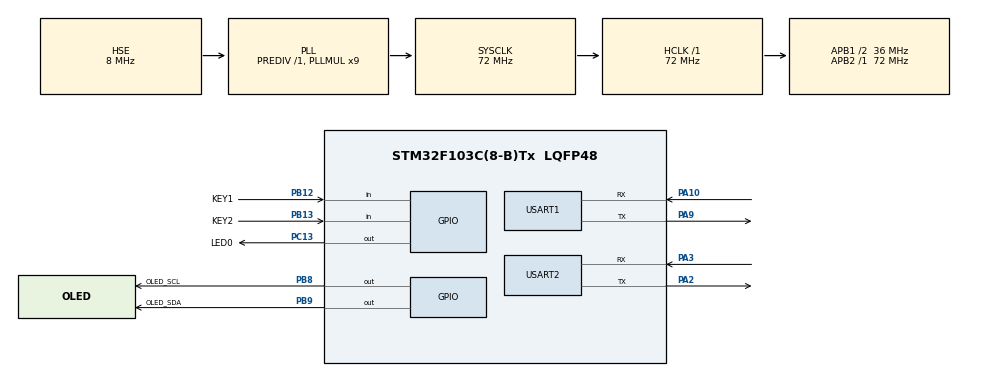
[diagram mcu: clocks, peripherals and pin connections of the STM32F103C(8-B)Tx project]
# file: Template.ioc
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Dma.Request0=USART1_RX
Dma.Request1=USART1_TX
Dma.Request2=USART2_RX
Dma.Request3=USART2_TX
Dma.USART1_RX.0.Direction=DMA_PERIPH_TO_MEMORY
Dma.USART1_RX.0.Instance=DMA1_Channel5
Dma.USART1_RX.0.MemDataAlignment=DMA_MDATAALIGN_BYTE
Dma.USART1_RX.0.MemInc=DMA_MINC_ENABLE
Dma.USART1_RX.0.Mode=DMA_NORMAL
Dma.USART1_RX.0.PeriphDataAlignment=DMA_PDATAALIGN_BYTE
Dma.USART1_RX.0.PeriphInc=DMA_PINC_DISABLE
Dma.USART1_RX.0.Priority=DMA_PRIORITY_LOW
Dma.USART1_TX.1.Direction=DMA_MEMORY_TO_PERIPH
Dma.USART1_TX.1.Instance=DMA1_Channel4
Dma.USART1_TX.1.MemDataAlignment=DMA_MDATAALIGN_BYTE
Dma.USART1_TX.1.MemInc=DMA_MINC_ENABLE
Dma.USART1_TX.1.Mode=DMA_NORMAL
Dma.USART1_TX.1.PeriphDataAlignment=DMA_PDATAALIGN_BYTE
Dma.USART1_TX.1.PeriphInc=DMA_PINC_DISABLE
Dma.USART1_TX.1.Priority=DMA_PRIORITY_LOW
Dma.USART2_RX.2.Direction=DMA_PERIPH_TO_MEMORY
Dma.USART2_RX.2.Instance=DMA1_Channel6
Dma.USART2_RX.2.MemDataAlignment=DMA_MDATAALIGN_BYTE
Dma.USART2_RX.2.MemInc=DMA_MINC_ENABLE
Dma.USART2_RX.2.Mode=DMA_NORMAL
Dma.USART2_RX.2.PeriphDataAlignment=DMA_PDATAALIGN_BYTE
Dma.USART2_RX.2.PeriphInc=DMA_PINC_DISABLE
Dma.USART2_RX.2.Priority=DMA_PRIORITY_LOW
Dma.USART2_TX.3.Direction=DMA_MEMORY_TO_PERIPH
Dma.USART2_TX.3.Instance=DMA1_Channel7
Dma.USART2_TX.3.MemDataAlignment=DMA_MDATAALIGN_BYTE
Dma.USART2_TX.3.MemInc=DMA_MINC_ENABLE
Dma.USART2_TX.3.Mode=DMA_NORMAL
Dma.USART2_TX.3.PeriphDataAlignment=DMA_PDATAALIGN_BYTE
Dma.USART2_TX.3.PeriphInc=DMA_PINC_DISABLE
Dma.USART2_TX.3.Priority=DMA_PRIORITY_LOW
Mcu.Family=STM32F1
Mcu.Name=STM32F103C(8-B)Tx
Mcu.Package=LQFP48
NVIC.DMA1_Channel4_IRQn=true\:0\:0\:false\:false\:true\:false\:true\:true
NVIC.DMA1_Channel5_IRQn=true\:0\:0\:false\:false\:true\:false\:true\:true
NVIC.DMA1_Channel6_IRQn=true\:0\:0\:false\:false\:true\:false\:true\:true
NVIC.DMA1_Channel7_IRQn=true\:0\:0\:false\:false\:true\:false\:true\:true
NVIC.PriorityGroup=NVIC_PRIORITYGROUP_2
NVIC.USART1_IRQn=true\:0\:0\:false\:false\:true\:true\:true\:true
NVIC.USART2_IRQn=true\:0\:0\:false\:false\:true\:true\:true\:true
PA10.Mode=Asynchronous
PA10.Signal=USART1_RX
PA13.Mode=Serial_Wire
PA13.Signal=SYS_JTMS-SWDIO
PA14.Mode=Serial_Wire
PA14.Signal=SYS_JTCK-SWCLK
PA2.Mode=Asynchronous
PA2.Signal=USART2_TX
PA3.Mode=Asynchronous
PA3.Signal=USART2_RX
PA9.Mode=Asynchronous
PA9.Signal=USART1_TX
PB12.GPIO_Label=KEY1
PB12.GPIO_PuPd=GPIO_PULLUP
PB12.Signal=GPIO_Input
PB13.GPIO_Label=KEY2
PB13.GPIO_PuPd=GPIO_PULLUP
PB13.Signal=GPIO_Input
PB8.GPIO_Label=OLED_SCL
PB8.GPIO_Speed=GPIO_SPEED_FREQ_HIGH
PB8.Signal=GPIO_Output
PB9.GPIO_Label=OLED_SDA
PB9.GPIO_Speed=GPIO_SPEED_FREQ_HIGH
PB9.PinState=GPIO_PIN_RESET
PB9.Signal=GPIO_Output
PC13-TAMPER-RTC.GPIO_Label=LED0
PC13-TAMPER-RTC.Signal=GPIO_Output
PC14-OSC32_IN.Mode=LSE-External-Oscillator
PC14-OSC32_IN.Signal=RCC_OSC32_IN
PC15-OSC32_OUT.Mode=LSE-External-Oscillator
PC15-OSC32_OUT.Signal=RCC_OSC32_OUT
PD0-OSC_IN.Mode=HSE-External-Oscillator
PD0-OSC_IN.Signal=RCC_OSC_IN
PD1-OSC_OUT.Mode=HSE-External-Oscillator
PD1-OSC_OUT.Signal=RCC_OSC_OUT
ProjectManager.HeapSize=0x200
ProjectManager.StackSize=0x400
ProjectManager.TargetToolchain=MDK-ARM V5.32
RCC.AHBFreq_Value=72000000
RCC.APB1CLKDivider=RCC_HCLK_DIV2
RCC.APB1Freq_Value=36000000
RCC.APB1TimFreq_Value=72000000
RCC.APB2Freq_Value=72000000
RCC.APB2TimFreq_Value=72000000
RCC.HCLKFreq_Value=72000000
RCC.PLLMUL=RCC_PLL_MUL9
RCC.PLLSourceVirtual=RCC_PLLSOURCE_HSE
RCC.SYSCLKFreq_VALUE=72000000
RCC.SYSCLKSource=RCC_SYSCLKSOURCE_PLLCLK
RCC.USBFreq_Value=72000000
USART1.VirtualMode=VM_ASYNC
USART2.VirtualMode=VM_ASYNC
board=custom

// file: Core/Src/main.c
/* USER CODE BEGIN Header */
/**
  ******************************************************************************
  * @file           : main.c
  * @brief          : Main program body
  ******************************************************************************
  * @attention
  *
  * Copyright (c) 2025 STMicroelectronics.
  * All rights reserved.
  *
  * This software is licensed under terms that can be found in the LICENSE file
  * in the root directory of this software component.
  * If no LICENSE file comes with this software, it is provided AS-IS.
  *
  ******************************************************************************
  */
/* USER CODE END Header */
#include "main.h"
#include "dma.h"
#include "usart.h"
#include "gpio.h"

void SystemClock_Config(void);

/* USER CODE BEGIN 0 */
// *******************库/函数导入*******************
// 系统库
#include <stdlib.h>
#include "string.h"
#include <stdio.h>
#include <stdbool.h>
// 自设库
#include "OLED.h"
#include "Key.h"
#include "Serial.h"

// *******************全局变量*******************

// *******************串口参数*******************
extern uint8_t RX_SerialArr[RX_Serial_LEN];	// DMA数据传输缓冲数组
extern int  Serial_New_Package_HEX[]  ;			// HEX数据包 : 数据长度 + 数据
extern char Serial_New_Package_ABC[]	; 		// 文本数据包:	 纯文本

// *******************实验区域*******************
int check1 		;
int check2 		;
int check[50] ;
float test1 ;

/* USER CODE END 0 */

int main(void)
{

  /* MCU Configuration--------------------------------------------------------*/

  /* Reset of all peripherals, Initializes the Flash interface and the Systick. */
  HAL_Init();

  /* Configure the system clock */
  SystemClock_Config();

  /* Initialize all configured peripherals */
  MX_GPIO_Init();
  MX_DMA_Init();
  MX_USART1_UART_Init();
  MX_USART2_UART_Init();
  /* USER CODE BEGIN 2 */

	// ******************* setup *******************
	// 启动Systick时钟
	HAL_SYSTICK_Config(SystemCoreClock / 1000);
	// 初始化OLED
	OLED_Init() ;
	OLED_ShowString(0 , 0 , "Hello World" , OLED_8X16 ) ;

	// 开启DMA+接收空闲中断
	HAL_UARTEx_ReceiveToIdle_DMA(&Serial_huart , RX_SerialArr , RX_Serial_LEN ) ;

	// ******************* 实验区域 *******************

  /* USER CODE END 2 */

  /* Infinite loop */
  while (1)
  {

    /* USER CODE BEGIN 3 */
		// ******************* while *******************
		// 测试按键功能
		if (Key_Check(KEY_1 , KEY_SINGLE))
		{
			HAL_GPIO_TogglePin(LED0_GPIO_Port , LED0_Pin) ;
		}
		else if (Key_Check(KEY_2 , KEY_SINGLE))
		{
			printf("\n%s\n" , RX_SerialArr) ;	// 打印DMA接收值
		}
		// ******************* 实验区域 *******************
		if (Serial_GetNewPackageFlag_HEX() == 1)
		{
			// OLED展示各个数据
			OLED_ShowNum(0 , 20 , Serial_New_Package_HEX[0] , 1 , OLED_8X16 ) ;
			for (int i = 1 ; i < Serial_New_Package_HEX[0] + 1 ; i ++)
			{
				OLED_ShowNum(20 , 10 + 10 * i , Serial_New_Package_HEX[i] , 5 , OLED_6X8 ) ;
			}
		}
		if (Serial_GetNewPackageFlag_ABC() == 1)
		{
			// 文本包调试程序
			Serial_SetFloatData("Kp" , "Kp=%f" , &test1) ;
			Serial_SetIntData("test" , "test=%d" , &check1) ;
			OLED_ShowFloatNum(20 , 50 , test1 , 1 , 6 , OLED_6X8) ;
			OLED_ShowNum(0 , 20 , check1 , 3 , OLED_8X16 ) ;
		}
		// 必须存在:OLED更新
		OLED_Update() ;
  }
  /* USER CODE END 3 */
}

void SystemClock_Config(void)
{
  RCC_OscInitTypeDef RCC_OscInitStruct = {0};
  RCC_ClkInitTypeDef RCC_ClkInitStruct = {0};

  /** Initializes the RCC Oscillators according to the specified parameters
  * in the RCC_OscInitTypeDef structure.
  */
  RCC_OscInitStruct.OscillatorType = RCC_OSCILLATORTYPE_HSE;
  RCC_OscInitStruct.HSEState = RCC_HSE_ON;
  RCC_OscInitStruct.HSEPredivValue = RCC_HSE_PREDIV_DIV1;
  RCC_OscInitStruct.HSIState = RCC_HSI_ON;
  RCC_OscInitStruct.PLL.PLLState = RCC_PLL_ON;
  RCC_OscInitStruct.PLL.PLLSource = RCC_PLLSOURCE_HSE;
  RCC_OscInitStruct.PLL.PLLMUL = RCC_PLL_MUL9;
  if (HAL_RCC_OscConfig(&RCC_OscInitStruct) != HAL_OK)
  {
    Error_Handler();
  }

  /** Initializes the CPU, AHB and APB buses clocks
  */
  RCC_ClkInitStruct.ClockType = RCC_CLOCKTYPE_HCLK|RCC_CLOCKTYPE_SYSCLK
                              |RCC_CLOCKTYPE_PCLK1|RCC_CLOCKTYPE_PCLK2;
  RCC_ClkInitStruct.SYSCLKSource = RCC_SYSCLKSOURCE_PLLCLK;
  RCC_ClkInitStruct.AHBCLKDivider = RCC_SYSCLK_DIV1;
  RCC_ClkInitStruct.APB1CLKDivider = RCC_HCLK_DIV2;
  RCC_ClkInitStruct.APB2CLKDivider = RCC_HCLK_DIV1;

  if (HAL_RCC_ClockConfig(&RCC_ClkInitStruct, FLASH_LATENCY_2) != HAL_OK)
  {
    Error_Handler();
  }
}

/* USER CODE BEGIN 4 */
// Systick定时中断
void HAL_SYSTICK_Callback(void)
{
	// 计时
	static int count_sys = 0 ;
	count_sys ++ ;
	// 功能1:
	if (count_sys % 1000 == 0)
	{
//		HAL_GPIO_TogglePin(LED0_GPIO_Port , LED0_Pin ) ;
	}
	// 功能2: 按键
	Key_Tick() ;
}

// 串口printf重定向
int fputc(int ch , FILE *f)
{
	HAL_UART_Transmit_IT(&huart1, (uint8_t *)&ch, 1);
	// 检查UART是否就绪,如果不等待肯定出问题
	while (huart1.gState != HAL_UART_STATE_READY) ;
	return ch ;
}

/* USER CODE END 4 */

void Error_Handler(void)
{
  __disable_irq();
  while (1)
  {
  }
}
